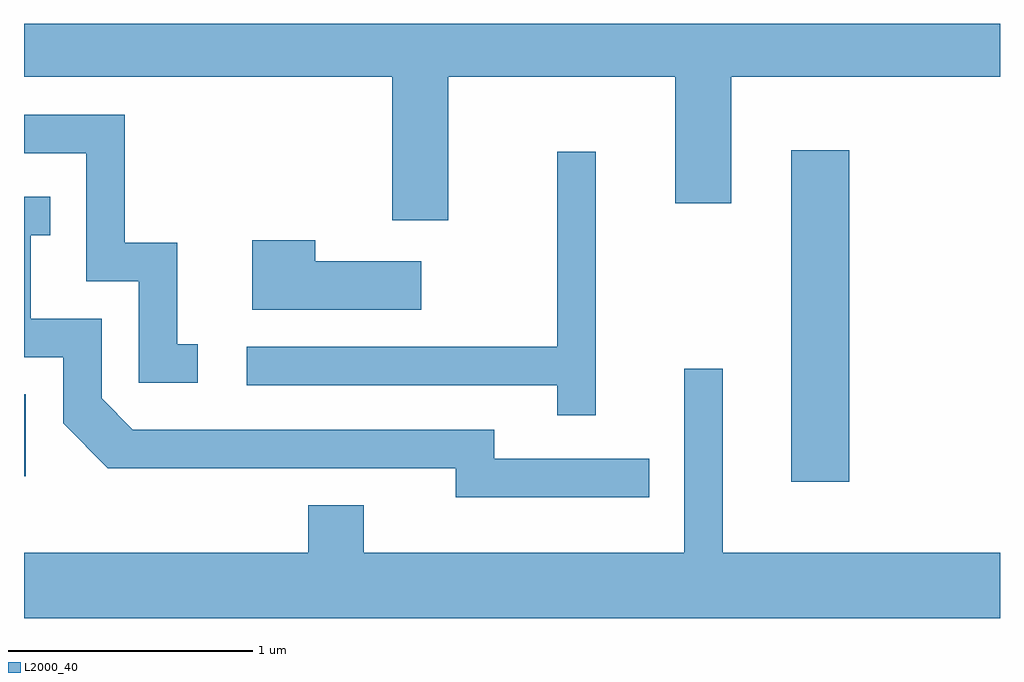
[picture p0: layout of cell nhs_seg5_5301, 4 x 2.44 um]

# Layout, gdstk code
import gdstk
lib = gdstk.Library(unit=1e-6, precision=1e-09)
def R(c, l, rs):  # rectangles x0, y0, x1, y1
    for r in rs: c.add(gdstk.rectangle(r[:2], r[2:], *l))
def P(c, l, *ps):  # polygons
    for p in ps: c.add(gdstk.Polygon(p, *l))
L2000_40 = (2000, 40)

nhs_seg5_5301 = lib.new_cell('nhs_seg5_5301')
R(nhs_seg5_5301, L2000_40, [(344.756,1506.196,344.994,1507.554), (341.611,1506.218,341.619,1506.554)])
P(nhs_seg5_5301, L2000_40, [(343.349,1507.856),(344.281,1507.856),(344.281,1507.336),(344.509,1507.336),(344.509,1507.856),(345.611,1507.856),(345.611,1508.072),(341.611,1508.072),(341.611,1507.856),(343.121,1507.856),(343.121,1507.266),(343.349,1507.266)],
  [(342.323,1506.759),(342.239,1506.759),(342.239,1507.174),(342.024,1507.174),(342.024,1507.699),(341.611,1507.699),(341.611,1507.541),(341.866,1507.541),(341.866,1507.016),(342.081,1507.016),(342.081,1506.601),(342.323,1506.601)],
  [(343.954,1507.548),(343.796,1507.548),(343.796,1506.749),(342.523,1506.749),(342.523,1506.591),(343.796,1506.591),(343.796,1506.468),(343.954,1506.468)],
  [(344.173,1506.289),(343.539,1506.289),(343.539,1506.409),(342.057,1506.409),(341.929,1506.537),(341.929,1506.864),(341.639,1506.864),(341.639,1507.206),(341.718,1507.206),(341.718,1507.364),(341.611,1507.364),(341.611,1506.706),(341.771,1506.706),(341.771,1506.434),(341.954,1506.251),(343.381,1506.251),(343.381,1506.131),(344.173,1506.131)],
  [(343.239,1507.099),(342.804,1507.099),(342.804,1507.184),(342.546,1507.184),(342.546,1506.901),(343.239,1506.901)],
  [(345.611,1505.904),(344.474,1505.904),(344.474,1506.658),(344.316,1506.658),(344.316,1505.904),(343.004,1505.904),(343.004,1506.099),(342.776,1506.099),(342.776,1505.904),(341.611,1505.904),(341.611,1505.636),(345.611,1505.636)])

lib.write_gds('nhs_seg5_5301.gds')
